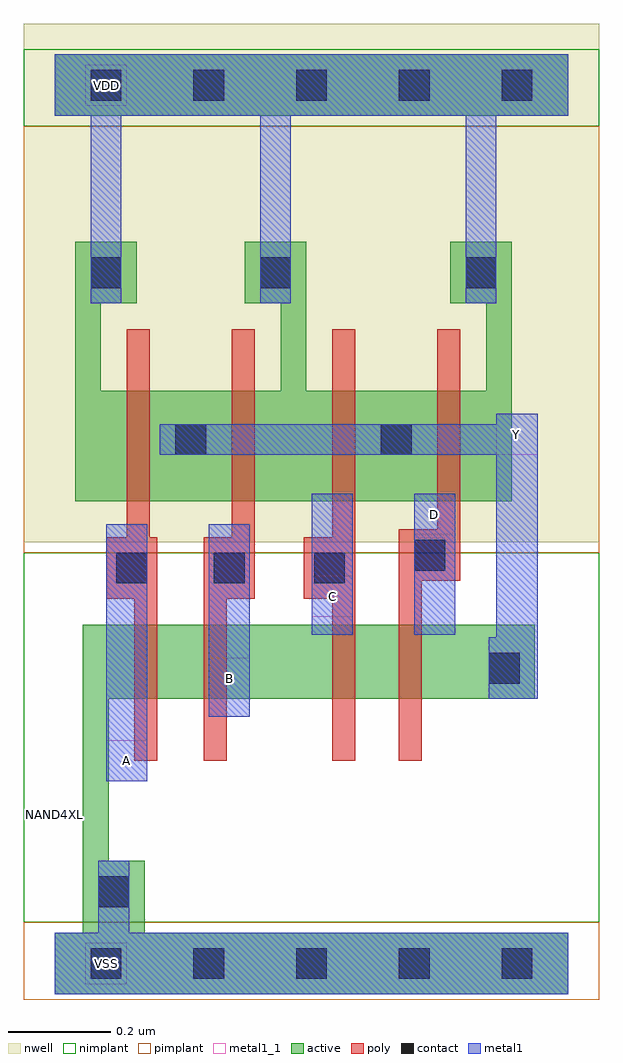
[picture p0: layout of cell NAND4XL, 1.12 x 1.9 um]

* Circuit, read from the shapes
.subckt NAND4XL A B C D VDD VSS Y
M1 n1 A VSS VSS nfet w=0.145u l=0.045u
M2 n2 B n1 VSS nfet w=0.145u l=0.045u
M3 n3 C n2 VSS nfet w=0.145u l=0.045u
M4 Y D n3 VSS nfet w=0.145u l=0.045u
M5 Y A VDD VDD pfet w=0.215u l=0.045u
M6 VDD B Y VDD pfet w=0.215u l=0.045u
M7 Y C VDD VDD pfet w=0.215u l=0.045u
M8 VDD D Y VDD pfet w=0.215u l=0.045u
.ends

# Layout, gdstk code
import gdstk
lib = gdstk.Library(unit=1e-6, precision=5e-10)
def R(c, l, rs):  # rectangles x0, y0, x1, y1
    for r in rs: c.add(gdstk.rectangle(r[:2], r[2:], *l))
def A(c, l, x, y, w, h, nx, ny, dx, dy):  # array of equal rectangles
    R(c, l, [(x+i*dx, y+j*dy, x+i*dx+w, y+j*dy+h) for i in range(nx) for j in range(ny)])
def P(c, l, *ps):  # polygons
    for p in ps: c.add(gdstk.Polygon(p, *l))
active = (1, 0)
nwell = (2, 0)
poly = (3, 0)
nimplant = (4, 0)
pimplant = (5, 0)
contact = (6, 0)
metal1 = (7, 0)
metal1_1 = (7, 1)

nand4xl = lib.new_cell('NAND4XL')
R(nand4xl, active, [(0,1.65,1,1.77)])
P(nand4xl, active, [(1,0.06),(0.175,0.06),(0.175,0.2),(0.105,0.2),(0.105,0.515),(0.935,0.515),(0.935,0.66),(0.055,0.66),(0.055,0.06),(0,0.06),(0,-0.06),(1,-0.06)],
  [(0.89,1.405),(0.77,1.405),(0.77,1.285),(0.84,1.285),(0.84,1.115),(0.49,1.115),(0.49,1.405),(0.37,1.405),(0.37,1.285),(0.44,1.285),(0.44,1.115),(0.09,1.115),(0.09,1.285),(0.16,1.285),(0.16,1.405),(0.04,1.405),(0.04,0.9),(0.89,0.9)])
R(nand4xl, nwell, [(-0.06,0.82,1.06,1.83)])
P(nand4xl, poly, [(0.79,1.235),(0.745,1.235),(0.745,0.845),(0.67,0.845),(0.67,0.395),(0.715,0.395),(0.715,0.745),(0.79,0.745)],
  [(0.585,1.235),(0.54,1.235),(0.54,0.83),(0.485,0.83),(0.485,0.71),(0.54,0.71),(0.54,0.395),(0.585,0.395)],
  [(0.39,1.235),(0.345,1.235),(0.345,0.83),(0.29,0.83),(0.29,0.395),(0.335,0.395),(0.335,0.71),(0.39,0.71)],
  [(0.2,0.83),(0.185,0.83),(0.185,1.235),(0.14,1.235),(0.14,0.83),(0.1,0.83),(0.1,0.71),(0.155,0.71),(0.155,0.395),(0.2,0.395)])
R(nand4xl, nimplant, [(-0.06,0.08,1.06,0.8), (-0.06,1.63,1.06,1.78)])
R(nand4xl, pimplant, [(-0.06,-0.07,1.06,0.08), (-0.06,0.8,1.06,1.63)])
A(nand4xl, contact, 0.07, -0.03, 0.06, 0.06, 5, 2, 0.2, 1.71)
R(nand4xl, contact, [(0.085,0.11,0.145,0.17), (0.845,0.545,0.905,0.605), (0.12,0.74,0.18,0.8), (0.31,0.74,0.37,0.8), (0.505,0.74,0.565,0.8), (0.7,0.765,0.76,0.825), (0.235,0.99,0.295,1.05), (0.635,0.99,0.695,1.05), (0.07,1.315,0.13,1.375), (0.4,1.315,0.46,1.375), (0.8,1.315,0.86,1.375)])
R(nand4xl, metal1, [(0.1,0.355,0.18,0.855), (0.3,0.48,0.38,0.855), (0.5,0.64,0.58,0.915), (0.7,0.64,0.78,0.915)])
P(nand4xl, metal1, [(1,0.06),(0.145,0.06),(0.145,0.2),(0.085,0.2),(0.085,0.06),(0,0.06),(0,-0.06),(1,-0.06)],
  [(1,1.77),(0,1.77),(0,1.65),(0.07,1.65),(0.07,1.285),(0.13,1.285),(0.13,1.65),(0.4,1.65),(0.4,1.285),(0.46,1.285),(0.46,1.65),(0.8,1.65),(0.8,1.285),(0.86,1.285),(0.86,1.65),(1,1.65)],
  [(0.94,1.07),(0.86,1.07),(0.86,1.05),(0.205,1.05),(0.205,0.99),(0.86,0.99),(0.86,0.635),(0.845,0.635),(0.845,0.515),(0.94,0.515)])
R(nand4xl, metal1_1, [(0.06,-0.04,0.14,0.04), (0.1,0.355,0.18,0.435), (0.3,0.515,0.38,0.595), (0.5,0.675,0.58,0.755), (0.7,0.835,0.78,0.915), (0.86,0.99,0.94,1.07), (0.06,1.67,0.14,1.75)])
nand4xl.add(gdstk.Label('VSS', (0.1,0), layer=7, texttype=1))
nand4xl.add(gdstk.Label('Y', (0.9,1.03), layer=7, texttype=1))
nand4xl.add(gdstk.Label('A', (0.14,0.395), layer=7, texttype=1))
nand4xl.add(gdstk.Label('B', (0.34,0.555), layer=7, texttype=1))
nand4xl.add(gdstk.Label('C', (0.54,0.715), layer=7, texttype=1))
nand4xl.add(gdstk.Label('D', (0.74,0.875), layer=7, texttype=1))
nand4xl.add(gdstk.Label('VDD', (0.1,1.71), layer=7, texttype=1))
nand4xl.add(gdstk.Label('NAND4XL', (0,0.29), layer=63, texttype=0))

lib.write_gds('NAND4XL.gds')
